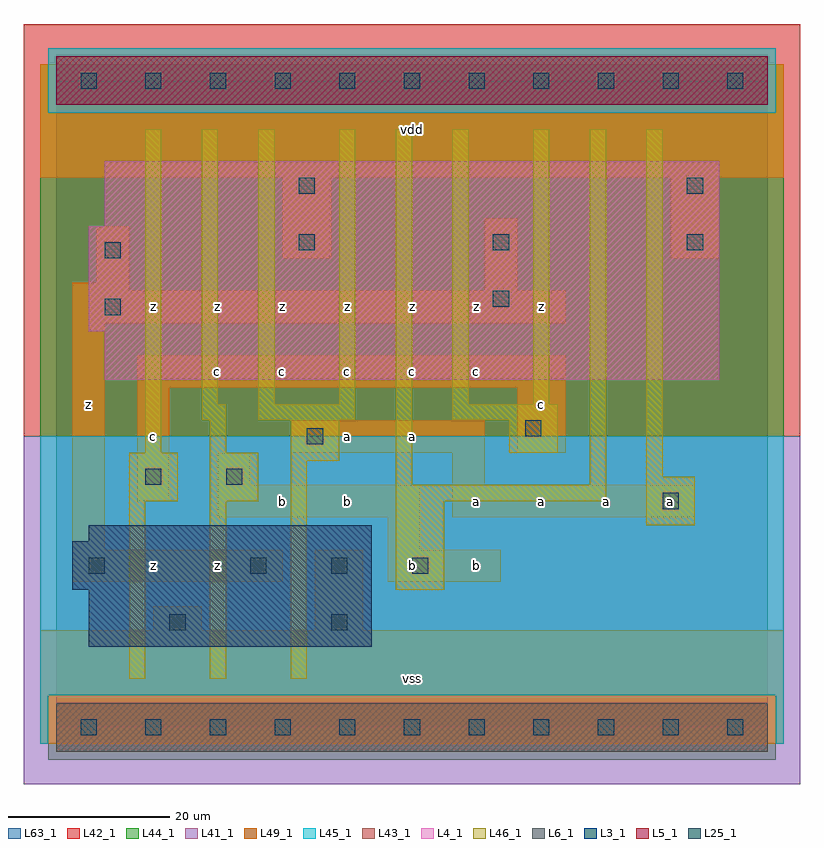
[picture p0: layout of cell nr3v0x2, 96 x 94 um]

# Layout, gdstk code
import gdstk
lib = gdstk.Library(unit=1e-6, precision=1e-09)
def R(c, l, rs):  # rectangles x0, y0, x1, y1
    for r in rs: c.add(gdstk.rectangle(r[:2], r[2:], *l))
def A(c, l, x, y, w, h, nx, ny, dx, dy):  # array of equal rectangles
    R(c, l, [(x+i*dx, y+j*dy, x+i*dx+w, y+j*dy+h) for i in range(nx) for j in range(ny)])
L3_1 = (3, 1)
L4_1 = (4, 1)
L5_1 = (5, 1)
L6_1 = (6, 1)
L25_1 = (25, 1)
L41_1 = (41, 1)
L42_1 = (42, 1)
L43_1 = (43, 1)
L44_1 = (44, 1)
L45_1 = (45, 1)
L46_1 = (46, 1)
L49_1 = (49, 1)
L63_1 = (63, 1)

nr3v0x2 = lib.new_cell('nr3v0x2')
R(nr3v0x2, L3_1, [(4,10,39,17), (2,17,39,23), (4,23,39,25)])
R(nr3v0x2, L4_1, [(6,43,82,49), (4,49,82,62), (6,62,82,70)])
R(nr3v0x2, L5_1, [(0,77,88,83)])
R(nr3v0x2, L6_1, [(0,-3,88,3), (0,-3,88,3)])
A(nr3v0x2, L25_1, 3, -1, 2, 2, 11, 2, 8, 80)
A(nr3v0x2, L25_1, 24, 19, 2, 2, 3, 1, 10, 0)
A(nr3v0x2, L25_1, 30, 59, 2, 2, 3, 1, 24, 0)
R(nr3v0x2, L25_1, [(14,12,16,14), (34,12,36,14), (4,19,6,21), (75,27,77,29), (11,30,13,32), (21,30,23,32), (31,35,33,37), (58,36,60,38), (6,51,8,53), (54,52,56,54), (6,58,8,60), (30,66,32,68), (78,66,80,68)])
R(nr3v0x2, L41_1, [(-4,-7,92,36)])
R(nr3v0x2, L42_1, [(-4,36,92,87)])
R(nr3v0x2, L43_1, [(0,-3,88,3), (4,10,39,17), (2,17,39,23), (4,23,39,25), (6,43,82,49), (4,49,82,62), (6,62,82,70), (0,77,88,83)])
R(nr3v0x2, L44_1, [(-1,-4,89,4), (-2,36,90,76), (-2,76,-1,82), (89,76,90,82)])
R(nr3v0x2, L45_1, [(-2,-2,-1,4), (89,-2,90,4), (-2,4,90,36), (-1,76,89,84)])
R(nr3v0x2, L46_1, [(9,6,11,28), (19,6,21,28), (29,6,31,33), (42,17,48,28), (73,25,79,31), (9,28,15,34), (19,28,25,34), (42,28,68,30), (42,30,44,74), (66,30,68,74), (73,31,75,74), (29,33,35,38), (11,34,13,74), (19,34,21,38), (56,34,62,38), (18,38,21,40), (25,38,37,40), (49,38,62,40), (18,40,20,74), (25,40,27,74), (35,40,37,74), (49,40,51,74), (59,40,61,74)])
R(nr3v0x2, L49_1, [(-2,-2,90,12), (12,12,18,15), (32,12,38,22), (2,18,28,22), (41,18,55,22), (2,22,6,50), (41,22,45,26), (20,26,45,30), (49,26,79,30), (10,28,14,42), (20,30,24,34), (49,30,53,34), (29,34,53,38), (57,34,63,42), (10,42,63,46), (2,50,63,54), (2,54,9,55), (53,54,57,63), (5,55,9,62), (28,58,34,68), (76,58,82,68), (-2,68,90,82)])
R(nr3v0x2, L63_1, [(0,0,88,80)])
nr3v0x2.add(gdstk.Label('z', (12,20), layer=49, texttype=1))
nr3v0x2.add(gdstk.Label('z', (4,40), layer=49, texttype=1))
nr3v0x2.add(gdstk.Label('c', (12,36), layer=49, texttype=1))
nr3v0x2.add(gdstk.Label('z', (12,52), layer=49, texttype=1))
nr3v0x2.add(gdstk.Label('z', (20,20), layer=49, texttype=1))
nr3v0x2.add(gdstk.Label('b', (28,28), layer=49, texttype=1))
nr3v0x2.add(gdstk.Label('c', (20,44), layer=49, texttype=1))
nr3v0x2.add(gdstk.Label('c', (28,44), layer=49, texttype=1))
nr3v0x2.add(gdstk.Label('z', (20,52), layer=49, texttype=1))
nr3v0x2.add(gdstk.Label('z', (28,52), layer=49, texttype=1))
nr3v0x2.add(gdstk.Label('vss', (44,6), layer=49, texttype=1))
nr3v0x2.add(gdstk.Label('b', (36,28), layer=49, texttype=1))
nr3v0x2.add(gdstk.Label('b', (44,20), layer=49, texttype=1))
nr3v0x2.add(gdstk.Label('a', (36,36), layer=49, texttype=1))
nr3v0x2.add(gdstk.Label('c', (36,44), layer=49, texttype=1))
nr3v0x2.add(gdstk.Label('a', (44,36), layer=49, texttype=1))
nr3v0x2.add(gdstk.Label('c', (44,44), layer=49, texttype=1))
nr3v0x2.add(gdstk.Label('z', (44,52), layer=49, texttype=1))
nr3v0x2.add(gdstk.Label('z', (36,52), layer=49, texttype=1))
nr3v0x2.add(gdstk.Label('vdd', (44,74), layer=49, texttype=1))
nr3v0x2.add(gdstk.Label('b', (52,20), layer=49, texttype=1))
nr3v0x2.add(gdstk.Label('a', (52,28), layer=49, texttype=1))
nr3v0x2.add(gdstk.Label('a', (60,28), layer=49, texttype=1))
nr3v0x2.add(gdstk.Label('a', (68,28), layer=49, texttype=1))
nr3v0x2.add(gdstk.Label('c', (52,44), layer=49, texttype=1))
nr3v0x2.add(gdstk.Label('c', (60,40), layer=49, texttype=1))
nr3v0x2.add(gdstk.Label('z', (60,52), layer=49, texttype=1))
nr3v0x2.add(gdstk.Label('z', (52,52), layer=49, texttype=1))
nr3v0x2.add(gdstk.Label('a', (76,28), layer=49, texttype=1))

lib.write_gds('nr3v0x2.gds')
